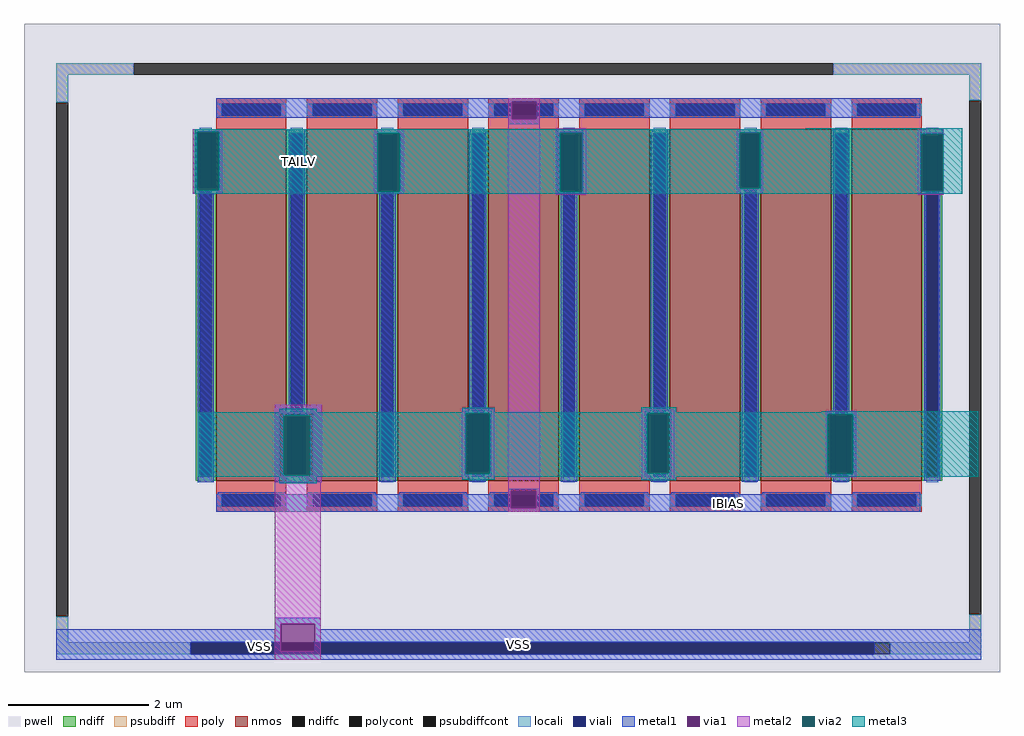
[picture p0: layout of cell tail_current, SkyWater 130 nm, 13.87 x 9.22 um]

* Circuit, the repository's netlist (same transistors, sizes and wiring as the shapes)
** sch_path: /home/dmatkin/tt07-dual-oscillator/xschem/tail_current.sch
.subckt tail_current TAILV IBIAS VSS
*.PININFO VSS:B IBIAS:I TAILV:B
XM3 TAILV IBIAS VSS VSS sky130_fd_pr__nfet_01v8 L=1 W=5 nf=1 ad='int((nf+1)/2) * W/nf * 0.29' as='int((nf+2)/2) * W/nf * 0.29' pd='2*int((nf+1)/2) * (W/nf + 0.29)'
+ ps='2*int((nf+2)/2) * (W/nf + 0.29)' nrd='0.29 / W' nrs='0.29 / W' sa=0 sb=0 sd=0 mult=8 m=8
.ends
.end

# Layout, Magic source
magic
tech sky130A
<< pwell >>
rect 0 0 1387 922
<< psubdiff >>
rect 46 849 156 866
rect 1150 849 1360 866
rect 46 810 63 849
rect 46 43 63 79
rect 1343 813 1360 849
rect 1343 43 1360 82
rect 46 26 237 43
rect 1231 26 1360 43
<< psubdiffcont >>
rect 156 849 1150 866
rect 46 79 63 810
rect 1343 82 1360 813
rect 237 26 1231 43
<< locali >>
rect 46 849 156 866
rect 1150 849 1360 866
rect 46 810 63 849
rect 46 43 63 79
rect 1343 813 1360 849
rect 1343 43 1360 82
rect 46 26 237 43
rect 1231 26 1360 43
<< viali >>
rect 237 26 1208 43
<< metal1 >>
rect 273 812 1274 816
rect 273 788 693 812
rect 688 786 693 788
rect 729 788 1274 812
rect 729 786 733 788
rect 688 779 733 786
rect 240 766 282 772
rect 498 766 540 772
rect 757 768 795 772
rect 240 689 246 766
rect 272 689 282 766
rect 240 680 282 689
rect 247 270 270 680
rect 376 380 399 766
rect 498 684 503 766
rect 533 684 540 766
rect 498 680 540 684
rect 356 368 423 380
rect 356 279 363 368
rect 411 279 423 368
rect 356 270 423 279
rect 505 271 528 680
rect 633 372 656 767
rect 757 684 762 768
rect 792 684 795 768
rect 1013 767 1050 772
rect 757 679 795 684
rect 626 366 665 372
rect 626 286 632 366
rect 659 286 665 366
rect 626 278 665 286
rect 633 271 656 278
rect 763 271 786 679
rect 891 372 914 767
rect 1013 687 1018 767
rect 1044 687 1050 767
rect 1013 680 1050 687
rect 882 367 920 372
rect 882 283 888 367
rect 915 283 920 367
rect 882 277 920 283
rect 891 271 914 277
rect 1020 271 1043 680
rect 1150 372 1173 767
rect 1274 766 1306 773
rect 1274 685 1278 766
rect 1304 685 1306 766
rect 1274 680 1306 685
rect 1142 367 1182 372
rect 1142 282 1148 367
rect 1176 282 1182 367
rect 1142 277 1182 282
rect 1150 271 1173 277
rect 688 259 733 261
rect 688 253 692 259
rect 273 233 692 253
rect 728 253 733 259
rect 728 233 1274 253
rect 273 228 1274 233
rect 356 69 422 78
rect 356 61 365 69
rect 46 43 365 61
rect 413 61 422 69
rect 413 43 1360 61
rect 46 26 237 43
rect 1208 26 1360 43
rect 46 18 1360 26
<< via1 >>
rect 693 786 729 812
rect 246 689 272 766
rect 503 684 533 766
rect 363 279 411 368
rect 762 684 792 768
rect 632 286 659 366
rect 1018 687 1044 767
rect 888 283 915 367
rect 1278 685 1304 766
rect 1148 282 1176 367
rect 692 233 728 259
rect 365 43 413 69
rect 365 30 413 43
<< metal2 >>
rect 688 812 733 816
rect 688 786 693 812
rect 729 786 733 812
rect 240 768 282 772
rect 240 685 246 768
rect 277 685 282 768
rect 240 680 282 685
rect 498 766 540 772
rect 498 683 503 766
rect 534 683 540 766
rect 498 680 540 683
rect 356 368 423 380
rect 356 279 363 368
rect 411 279 423 368
rect 356 270 423 279
rect 622 368 668 375
rect 622 282 628 368
rect 662 282 668 368
rect 622 274 668 282
rect 356 69 422 270
rect 688 259 733 786
rect 756 768 799 773
rect 756 683 762 768
rect 792 766 799 768
rect 793 683 799 766
rect 756 679 799 683
rect 1013 767 1050 772
rect 1013 688 1017 767
rect 1046 688 1050 767
rect 1013 687 1018 688
rect 1044 687 1050 688
rect 1013 680 1050 687
rect 1270 766 1307 773
rect 1270 765 1278 766
rect 1304 765 1307 766
rect 1270 684 1275 765
rect 1306 684 1307 765
rect 1270 679 1307 684
rect 878 368 924 374
rect 878 283 886 368
rect 916 283 924 368
rect 878 274 924 283
rect 1140 367 1183 372
rect 1140 282 1142 367
rect 1178 282 1183 367
rect 1140 277 1183 282
rect 688 233 692 259
rect 728 233 733 259
rect 688 228 733 233
rect 356 30 365 69
rect 413 30 422 69
rect 356 18 422 30
<< via2 >>
rect 246 766 277 768
rect 246 689 272 766
rect 272 689 277 766
rect 246 685 277 689
rect 503 684 533 766
rect 533 684 534 766
rect 503 683 534 684
rect 369 280 406 365
rect 628 366 662 368
rect 628 286 632 366
rect 632 286 659 366
rect 659 286 662 366
rect 628 282 662 286
rect 762 684 792 766
rect 792 684 793 766
rect 762 683 793 684
rect 1017 688 1018 767
rect 1018 688 1044 767
rect 1044 688 1046 767
rect 1275 685 1278 765
rect 1278 685 1304 765
rect 1304 685 1306 765
rect 1275 684 1306 685
rect 886 367 916 368
rect 886 283 888 367
rect 888 283 915 367
rect 915 283 916 367
rect 1142 282 1148 367
rect 1148 282 1176 367
rect 1176 282 1178 367
<< metal3 >>
rect 1111 772 1333 773
rect 243 768 1333 772
rect 243 685 246 768
rect 277 767 1333 768
rect 277 766 1017 767
rect 277 685 503 766
rect 243 683 503 685
rect 534 683 762 766
rect 793 688 1017 766
rect 1046 765 1333 767
rect 1046 688 1275 765
rect 793 684 1275 688
rect 1306 684 1333 765
rect 793 683 1333 684
rect 243 680 1333 683
rect 363 370 416 375
rect 623 370 669 376
rect 877 370 927 377
rect 1134 370 1356 371
rect 247 368 1356 370
rect 247 365 628 368
rect 247 280 369 365
rect 406 282 628 365
rect 662 283 886 368
rect 916 367 1356 368
rect 916 283 1142 367
rect 662 282 1142 283
rect 1178 282 1356 367
rect 406 280 1356 282
rect 247 278 1356 280
rect 363 269 416 278
rect 623 274 669 278
rect 877 273 927 278
use sky130_fd_pr__nfet_01v8_U654K6  sky130_fd_pr__nfet_01v8_U654K6_1
transform 1 0 323 0 1 522
box -79 -294 79 294
use sky130_fd_pr__nfet_01v8_U654K6  sky130_fd_pr__nfet_01v8_U654K6_2
transform 1 0 452 0 1 522
box -79 -294 79 294
use sky130_fd_pr__nfet_01v8_U654K6  sky130_fd_pr__nfet_01v8_U654K6_3
transform 1 0 1097 0 1 522
box -79 -294 79 294
use sky130_fd_pr__nfet_01v8_U654K6  sky130_fd_pr__nfet_01v8_U654K6_4
transform 1 0 581 0 1 522
box -79 -294 79 294
use sky130_fd_pr__nfet_01v8_U654K6  sky130_fd_pr__nfet_01v8_U654K6_5
transform 1 0 710 0 1 522
box -79 -294 79 294
use sky130_fd_pr__nfet_01v8_U654K6  sky130_fd_pr__nfet_01v8_U654K6_6
transform 1 0 839 0 1 522
box -79 -294 79 294
use sky130_fd_pr__nfet_01v8_U654K6  sky130_fd_pr__nfet_01v8_U654K6_7
transform 1 0 968 0 1 522
box -79 -294 79 294
use sky130_fd_pr__nfet_01v8_U654K6  sky130_fd_pr__nfet_01v8_U654K6_8
transform 1 0 1226 0 1 522
box -79 -294 79 294
<< labels >>
flabel pwell 46 18 1360 61 0 FreeSans 400 0 0 0 VSS
port 3 nsew
flabel metal1 728 228 1274 253 0 FreeSans 400 0 0 0 IBIAS
port 4 nsew
flabel metal3 277 680 503 772 0 FreeSans 400 0 0 0 TAILV
port 5 nsew
flabel pwell 78 18 591 57 0 FreeSans 320 0 0 0 VSS
port 6 nsew
<< end >>

# cell sky130_fd_pr__nfet_01v8_U654K6: kit device sky130_fd_pr__nfet_01v8, w 5 l 1 m 1 nf 1 diffcov 100 polycov 100 guard 0 glc 0 grc 0 gtc 0 gbc 0 tbcov 100 rlcov 100 topc 1 botc 1 poverlap 0 doverlap 1 lmin 0.15 wmin 0.42 compatible {sky130_fd_pr__nfet_01v8 sky130_fd_pr__nfet_01v8_lvt sky130_fd_bs_flash__special_sonosfet_star sky130_fd_pr__nfet_g5v0d10v5 sky130_fd_pr__nfet_05v0_nvt sky130_fd_pr__nfet_03v3_nvt} full_metal 0 viasrc 100 viadrn 100 viagate 100 viagb 0 viagr 0 viagl 0 viagt 0
